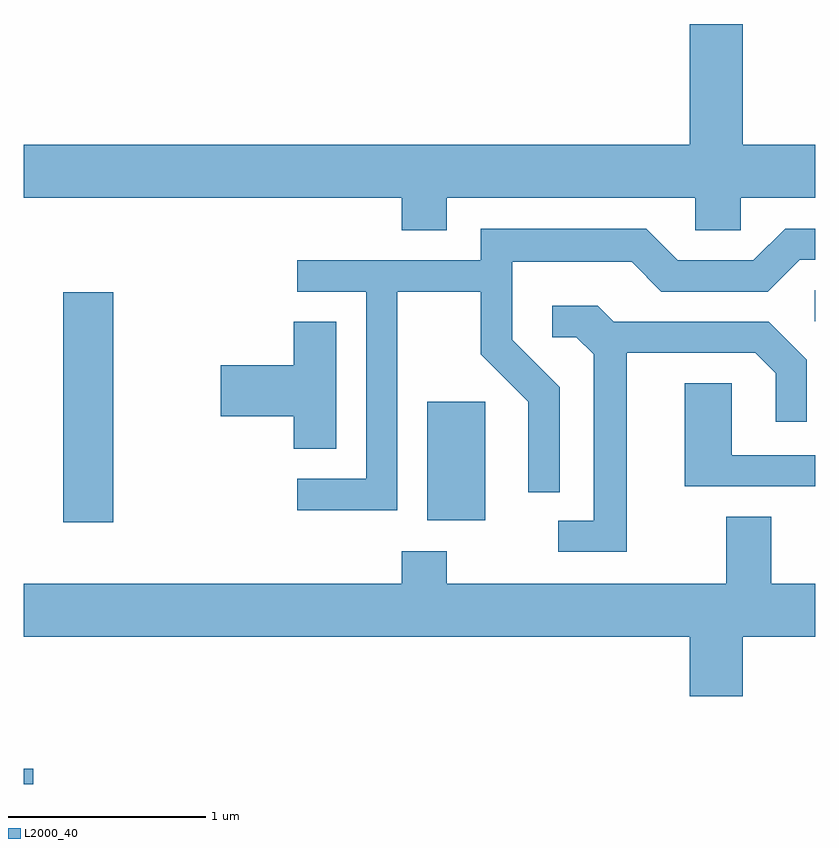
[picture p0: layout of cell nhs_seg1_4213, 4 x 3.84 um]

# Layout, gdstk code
import gdstk
lib = gdstk.Library(unit=1e-6, precision=1e-09)
def R(c, l, rs):  # rectangles x0, y0, x1, y1
    for r in rs: c.add(gdstk.rectangle(r[:2], r[2:], *l))
def P(c, l, *ps):  # polygons
    for p in ps: c.add(gdstk.Polygon(p, *l))
L2000_40 = (2000, 40)

nhs_seg1_4213 = lib.new_cell('nhs_seg1_4213')
R(nhs_seg1_4213, L2000_40, [(311.611,907.712,311.659,907.789), (311.811,909.036,312.064,910.199), (313.651,909.046,313.944,909.644), (315.608,910.051,315.611,910.209)])
P(nhs_seg1_4213, L2000_40, [(313.749,910.676),(315.006,910.676),(315.006,910.511),(315.234,910.511),(315.234,910.676),(315.611,910.676),(315.611,910.944),(315.244,910.944),(315.244,911.554),(314.976,911.554),(314.976,910.944),(311.611,910.944),(311.611,910.676),(313.521,910.676),(313.521,910.511),(313.749,910.511)],
  [(313.499,910.201),(313.921,910.201),(313.921,909.884),(314.161,909.644),(314.161,909.188),(314.319,909.188),(314.319,909.717),(314.079,909.957),(314.079,910.351),(314.684,910.351),(314.834,910.201),(315.372,910.201),(315.532,910.361),(315.611,910.361),(315.611,910.519),(315.459,910.519),(315.299,910.359),(314.917,910.359),(314.757,910.519),(313.921,910.519),(313.921,910.359),(312.993,910.359),(312.993,910.201),(313.341,910.201),(313.341,909.254),(312.993,909.254),(312.993,909.096),(313.499,909.096)],
  [(314.659,909.891),(315.309,909.891),(315.411,909.789),(315.411,909.543),(315.569,909.543),(315.569,909.857),(315.377,910.049),(314.592,910.049),(314.512,910.129),(314.283,910.129),(314.283,909.971),(314.404,909.971),(314.491,909.884),(314.491,909.044),(314.313,909.044),(314.313,908.886),(314.659,908.886)],
  [(313.189,910.049),(312.976,910.049),(312.976,909.829),(312.606,909.829),(312.606,909.571),(312.976,909.571),(312.976,909.406),(313.189,909.406)],
  [(315.611,909.374),(315.189,909.374),(315.189,909.739),(314.951,909.739),(314.951,909.216),(315.611,909.216)],
  [(315.244,908.456),(315.611,908.456),(315.611,908.724),(315.389,908.724),(315.389,909.064),(315.161,909.064),(315.161,908.724),(313.749,908.724),(313.749,908.889),(313.521,908.889),(313.521,908.724),(311.611,908.724),(311.611,908.456),(314.976,908.456),(314.976,908.156),(315.244,908.156)])

lib.write_gds('nhs_seg1_4213.gds')
